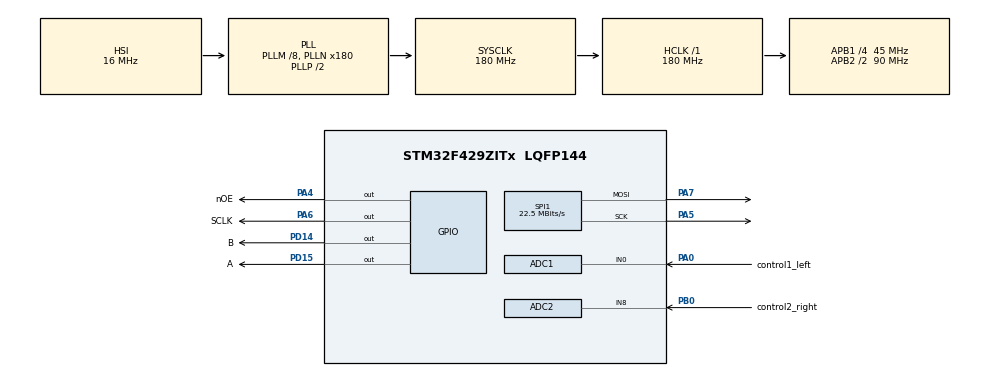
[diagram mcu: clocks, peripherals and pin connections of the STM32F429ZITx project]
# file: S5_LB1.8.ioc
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ADC1.Channel-0\#ChannelRegularConversion=ADC_CHANNEL_0
ADC1.NbrOfConversionFlag=1
ADC1.Rank-0\#ChannelRegularConversion=1
ADC1.SamplingTime-0\#ChannelRegularConversion=ADC_SAMPLETIME_3CYCLES
ADC1.master=1
ADC2.Channel-11\#ChannelRegularConversion=ADC_CHANNEL_8
ADC2.NbrOfConversionFlag=1
ADC2.Rank-11\#ChannelRegularConversion=1
ADC2.SamplingTime-11\#ChannelRegularConversion=ADC_SAMPLETIME_3CYCLES
Mcu.Family=STM32F4
Mcu.Name=STM32F429ZITx
Mcu.Package=LQFP144
NVIC.ADC_IRQn=true\:0\:0\:false\:false\:true\:true\:true\:true
NVIC.PriorityGroup=NVIC_PRIORITYGROUP_4
NVIC.TIM1_UP_TIM10_IRQn=true\:0\:0\:false\:false\:true\:true\:true\:true
PA0/WKUP.GPIO_Label=control1_left
PA0/WKUP.Signal=ADCx_IN0
PA13.Mode=Serial_Wire
PA13.Signal=SYS_JTMS-SWDIO
PA14.Mode=Serial_Wire
PA14.Signal=SYS_JTCK-SWCLK
PA4.GPIO_Label=nOE
PA4.Signal=GPIO_Output
PA5.Mode=TX_Only_Simplex_Unidirect_Master
PA5.Signal=SPI1_SCK
PA6.GPIO_Label=SCLK
PA6.Signal=GPIO_Output
PA7.Mode=TX_Only_Simplex_Unidirect_Master
PA7.Signal=SPI1_MOSI
PB0.GPIO_Label=control2_right
PB0.Signal=ADCx_IN8
PD14.GPIO_Label=B
PD14.Signal=GPIO_Output
PD15.GPIO_Label=A
PD15.Signal=GPIO_Output
PH0/OSC_IN.Mode=HSE-External-Oscillator
PH0/OSC_IN.Signal=RCC_OSC_IN
PH1/OSC_OUT.Mode=HSE-External-Oscillator
PH1/OSC_OUT.Signal=RCC_OSC_OUT
ProjectManager.HeapSize=0x200
ProjectManager.StackSize=0x400
ProjectManager.TargetToolchain=STM32CubeIDE
RCC.48MHZClocksFreq_Value=90000000
RCC.AHBFreq_Value=180000000
RCC.APB1CLKDivider=RCC_HCLK_DIV4
RCC.APB1Freq_Value=45000000
RCC.APB1TimFreq_Value=90000000
RCC.APB2CLKDivider=RCC_HCLK_DIV2
RCC.APB2Freq_Value=90000000
RCC.APB2TimFreq_Value=180000000
RCC.CortexFreq_Value=180000000
RCC.HCLKFreq_Value=180000000
RCC.HSE_VALUE=25000000
RCC.HSI_VALUE=16000000
RCC.LSE_VALUE=32768
RCC.PLLM=8
RCC.PLLN=180
RCC.SYSCLKFreq_VALUE=180000000
RCC.SYSCLKSource=RCC_SYSCLKSOURCE_PLLCLK
RCC.VCOOutputFreq_Value=360000000
SH.ADCx_IN0.0=ADC1_IN0,IN0
SH.ADCx_IN8.0=ADC2_IN8,IN8
SPI1.BaudRatePrescaler=SPI_BAUDRATEPRESCALER_4
SPI1.CalculateBaudRate=22.5 MBits/s
SPI1.Direction=SPI_DIRECTION_2LINES
SPI1.Mode=SPI_MODE_MASTER
SPI1.VirtualType=VM_MASTER
TIM1.Period=1800-1
TIM1.Prescaler=100-1
VP_TIM1_VS_ClockSourceINT.Mode=Internal
board=custom

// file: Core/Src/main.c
/* USER CODE BEGIN Header */
/**
  ******************************************************************************
  * @file           : main.c
  * @brief          : Main program body
  ******************************************************************************
  * @attention
  *
  * Copyright (c) 2023 STMicroelectronics.
  * All rights reserved.
  *
  * This software is licensed under terms that can be found in the LICENSE file
  * in the root directory of this software component.
  * If no LICENSE file comes with this software, it is provided AS-IS.
  *
  ******************************************************************************
  */
/* USER CODE END Header */
#include "main.h"

/* USER CODE BEGIN Includes */

#include "disp1color.h"
#include "font.h"

#include <stdio.h>
#define WIDTH 32 //Ширина светодиодной панели
#define HEIGHT 16 //Высота светодиодной панели

//difficulty very easy = 1000, easy = 300, medium = 100, hard = 30, very hard=10, terror = 1
uint16_t difficulty = 100; // Шаг по времени для движения мяча

volatile uint32_t inter_time = 0; // Таймер миллисекунд
uint32_t time_last = 0; // Переменная для указания шага обновления координаты шарика

uint8_t ballX = WIDTH / 2;  // Координата мяча по оси X, установка мяча в центре
uint8_t ballY = HEIGHT / 2;  // Координата мяча по оси Y, установка мяча в центре
uint8_t ballSpeedX = 1; // Скорость мяча по оси X
uint8_t ballSpeedY = 1; // Скорость мяча по оси Y

//Potentiometers
float adc_value1 = 0; // Значение с потенциометра 1
float adc_value2 = 0; // Значение с потенциометра 2
float adc_filt_val1 = 0; //Фильтрованное значение потенциометра 1
float adc_filt_val2 = 0; // Фильтрованное значение потенциометра 2
uint8_t value1, value2; // Пропорциональное значение потенциометра 1 и 2
float k = 0.1; // Коэффициент фильтрации\

uint8_t score1_left, score2_right; // Счет левого и правого игрока
uint8_t plat_lenght = 5; // Длина платформы игрока

uint8_t flag_score = 0; // Флаг для показа счета
uint8_t shift1 = 0; //Сдвиг числа счета игрока 1 при 2 символах
uint8_t shift2 = 0; //Сдвиг числа счета игрока 2 при 2 символах

extern uint8_t data1[16], data2[16], data3[16], data4[16]; //Буфер для заполнения матрицы лед-панели

/* USER CODE END Includes */

ADC_HandleTypeDef hadc1;
ADC_HandleTypeDef hadc2;

SPI_HandleTypeDef hspi1;

TIM_HandleTypeDef htim1;

void SystemClock_Config(void);
static void MX_GPIO_Init(void);
static void MX_SPI1_Init(void);
static void MX_TIM1_Init(void);
static void MX_ADC1_Init(void);
static void MX_ADC2_Init(void);

/* USER CODE BEGIN 0 */

uint8_t player1_left() { // функция для определения положения платформы игрока 1
	uint8_t y = 1 + value1; // Положение платформы игрока 1
	disp1color_DrawLine(0, y, 0, y + plat_lenght); // Рисование платформы 1
	return y; // возвращение положения платформы 1
}

uint8_t player2_right() { // функция для определения положения платформы игрока 2
	uint8_t y = 1 + value2; //Положение платформы игрока 2
	disp1color_DrawLine(31, y, 31, y + plat_lenght);//Рисование платформы 2
	return y; // возвращение положения платформы 2
}

void game() { // функция для реализации игрового процесса
	uint8_t player1, player2; // Реальное положение платформы игрока 1 и 2
	player1 = player1_left();
	player2 = player2_right();
	if (ballX == 0 || ballX == 31) { // находится ли мяч у левой и правой границы
		if (ballX == 0) { // если мяч находится у левой границы
			if (ballY < player1 || ballY > (player1 + plat_lenght)) { //если мяч находится вне координат платформы
				score1_left++; // увеличение счета 2 игрока
				ballX = WIDTH / 2; // возращение мяча в начальное положение по X
				ballY = HEIGHT / 2; // возращение мяча в начальное положение по Y
				time_last = inter_time + difficulty * 20; //изменение времени ожидания, перед началом нвого раунда
				flag_score = 1; // поднятие флага для вывода счета
			} else {
				BallPosition(); // функция для изменения положения мяча
			}
		} else {
			if (ballY < player2 || ballY > (player2 + plat_lenght)) {
				score2_right++; // увеличение счета 2 игрока
				ballX = WIDTH / 2; // возращение мяча в начальное положение по X
				ballY = HEIGHT / 2; // возращение мяча в начальное положение по Y
				time_last = inter_time + difficulty * 20; //изменение времени ожидания, перед началом нвого раунда
				flag_score = 1; // поднятие флага для вывода счета
			} else {
				BallPosition(); // функция для изменения положения мяча
			}
		}
	} else {
		BallPosition(); // функция для изменения положения мяча
	}

	if ((10 * difficulty + inter_time) <= time_last) { // условие для временного вывода счета перед началом нового раунда
		flag_score = 1;
	} else {
		flag_score = 0;
	}
}

void scorer() { // функция для вывода счета игроков
	char buffer1[3]; //Буфер для вывода счета в строку 2
	char buffer2[3]; //Буфер для вывода счета в строку 1

	sprintf(buffer1, "%d", score1_left); // преобразование числа в строку
	sprintf(buffer2, "%d", score2_right);

	if (score1_left == 10) { // при счете игрока 2 == 10 сдвигаем число для лучшего отображения
		shift1 = 3; //Сдвиг увеличивается с 0 до 3 пикселей
	}
	if (score2_right == 10) { // при счете игрока 2 == 10 сдвигаем число для лучшего отображения
		shift2 = 3; //Сдвиг увеличивается с 0 до 3 пикселей
	}

	if (flag_score) { // вывод счета на экран
		disp1color_printf(6 - shift1, 4, FONTID_6X8M, buffer2);
		disp1color_printf(21 - shift2, 4, FONTID_6X8M, buffer1);
	}
}

void BallPosition() { // функция для изменения положения мяча
	uint8_t player1, player2; // // Реальное положение платформы игрока 1 и 2
	player1 = player1_left();
	player2 = player2_right();
	// условие движения мяча по полю
	if (inter_time >= time_last) { // когда время на таймере больше заданного значения, изменяем положение мяча
		ballX = ballX + ballSpeedX; // смещение координаты мяча по оси Х
		ballY = ballY + ballSpeedY; // смещение координаты мяча по оси Х
		if (ballX == 0 || ballX == 31) { // находится ли мяч у левой и правой границы
			ballSpeedX = -ballSpeedX; //изменение смешения шарика на обратное
		} else if (ballX == 1 && (ballY >= player1 && ballY <= (player1 + plat_lenght))) { //касается ли мяч платформы игрока 1
			ballSpeedX = -ballSpeedX; //изменение смешения шарика на обратное
		} else if (ballX == 30 && (ballY >= player2 && ballY <= (player2 + plat_lenght))){ //касается ли мяч платформы игрока 2
			ballSpeedX = -ballSpeedX; //изменение смешения шарика на обратное
		}
		if (ballY == 1 || ballY == 14) { // находится ли мяч у нижней и верхней стенки
			ballSpeedY = -ballSpeedY; //изменение смешения шарика на обратное
		}
		//добавление шага по времени к последнему времени таймера, для задания частоты изменения положения мяча
		time_last = inter_time + difficulty;
	}
}

float expFilter1(float inputValue) { //экспоненциальный фильтр для потенциометра 1
	static float FiltVal = 0; //переменная запоминающая прошлое значения с потенциометра
	FiltVal += (inputValue - FiltVal) * k; //изменение нового значения потенциометра по коэффициенту
	return FiltVal; //возращение нового значения с потенциометра
}

float expFilter2(float inputValue) { //экспоненциальный фильтр для потенциометра 2
	static float FiltVal = 0; //переменная запоминающая прошлое значения с потенциометра
	FiltVal += (inputValue - FiltVal) * k; //изменение нового значения потенциометра по коэффициенту
	return FiltVal; //возращение нового значения с потенциометра
}

void Potentiometers() { // функция управления потенциометрами
	HAL_ADC_Start(&hadc1); //включение АЦП для оцифровки аналогого сигнала 1
	HAL_ADC_Start(&hadc2); //включение АЦП для оцифровки аналогого сигнала 2

	HAL_ADC_PollForConversion(&hadc1, 5); //ожидание окончания преобразования АЦП по истечению 5 тактов
	HAL_ADC_PollForConversion(&hadc2, 5); //ожидание окончания преобразования АЦП по истечению 5 тактов

	adc_value1 = HAL_ADC_GetValue(&hadc1); //получение значения с потенциометра 1
	adc_value2 = HAL_ADC_GetValue(&hadc2); //получение значения с потенциометра 2

	adc_filt_val1 = expFilter1(adc_value1); //получение фильтрованного значения с потенциометра 1
	adc_filt_val2 = expFilter2(adc_value2); //получение фильтрованного значения с потенциометра 1

	HAL_ADC_Stop(&hadc1); //остановка АЦП преобразований
	HAL_ADC_Stop(&hadc2); //остановка АЦП преобразований

	//пропорциональное изменение значения с потенциометра в значения от 0 до 9
	value1 = adc_filt_val1 * (14 - plat_lenght) / 4096;
	value2 = adc_filt_val2 * (14 - plat_lenght) / 4096;
}

void disp_row(uint8_t row) { //заполнение буфера матрицы

	if (row == 0) {

		for (uint8_t i = 0; i < 6; i++) {
			HAL_SPI_Transmit(&hspi1,(uint8_t*) &data1, 16, 10);
		}

		HAL_GPIO_WritePin(SCLK_GPIO_Port, SCLK_Pin, GPIO_PIN_RESET);
		HAL_GPIO_WritePin(SCLK_GPIO_Port, SCLK_Pin, GPIO_PIN_SET);

		HAL_GPIO_WritePin(A_GPIO_Port, A_Pin, GPIO_PIN_RESET);
		HAL_GPIO_WritePin(B_GPIO_Port, B_Pin, GPIO_PIN_RESET);
	}
	if (row == 1) {

		for (uint8_t i = 0; i < 6; i++) {
			HAL_SPI_Transmit(&hspi1,(uint8_t*) &data2, 16, 10);
		}

		HAL_GPIO_WritePin(SCLK_GPIO_Port, SCLK_Pin, GPIO_PIN_RESET);
		HAL_GPIO_WritePin(SCLK_GPIO_Port, SCLK_Pin, GPIO_PIN_SET);

		HAL_GPIO_WritePin(A_GPIO_Port, A_Pin, GPIO_PIN_SET);
		HAL_GPIO_WritePin(B_GPIO_Port, B_Pin, GPIO_PIN_RESET);
	}

	if (row == 2) {

		for (uint8_t i = 0; i < 6; i++) {
			HAL_SPI_Transmit(&hspi1,(uint8_t*) &data3, 16, 10);
		}

		HAL_GPIO_WritePin(SCLK_GPIO_Port, SCLK_Pin, GPIO_PIN_RESET);
		HAL_GPIO_WritePin(SCLK_GPIO_Port, SCLK_Pin, GPIO_PIN_SET);

		HAL_GPIO_WritePin(A_GPIO_Port, A_Pin, GPIO_PIN_RESET);
		HAL_GPIO_WritePin(B_GPIO_Port, B_Pin, GPIO_PIN_SET);
	}

	if (row == 3) {

		for (uint8_t i = 0; i < 6; i++) {
			HAL_SPI_Transmit(&hspi1,(uint8_t*) &data4, 16, 10);
		}

		HAL_GPIO_WritePin(SCLK_GPIO_Port, SCLK_Pin, GPIO_PIN_RESET);
		HAL_GPIO_WritePin(SCLK_GPIO_Port, SCLK_Pin, GPIO_PIN_SET);

		HAL_GPIO_WritePin(A_GPIO_Port, A_Pin, GPIO_PIN_SET);
		HAL_GPIO_WritePin(B_GPIO_Port, B_Pin, GPIO_PIN_SET);
	}

	HAL_GPIO_WritePin(nOE_GPIO_Port, nOE_Pin, GPIO_PIN_SET);
	for (uint16_t x = 0; x <= 300; x++) {
	};
	HAL_GPIO_WritePin(nOE_GPIO_Port, nOE_Pin, GPIO_PIN_RESET);
}

void show_screen() { //отрисовка экрана игры: мяча и стенок
	disp1color_DrawPixel(ballX, ballY, 1); //отсовка мяча
	disp1color_DrawLine(0, 0, 31, 0); //отрисовка верхней стены
	disp1color_DrawLine(0, 15, 31, 15); // отрисовка нижней стены

	disp1color_UpdateFromBuff(); //обновленеи буфера
	prepare_data(); //подготовка данных для заполнения
	for (uint8_t i = 0; i < 20; i++) { //заполнение каждого пикселя светодиодной панели
		disp_row(0);
		disp_row(1);
		disp_row(2);
		disp_row(3);
	}
}
/* USER CODE END 0 */

int main(void)
{

  /* MCU Configuration--------------------------------------------------------*/

  /* Reset of all peripherals, Initializes the Flash interface and the Systick. */
  HAL_Init();

  /* Configure the system clock */
  SystemClock_Config();

  /* Initialize all configured peripherals */
  MX_GPIO_Init();
  MX_SPI1_Init();
  MX_TIM1_Init();
  MX_ADC1_Init();
  MX_ADC2_Init();
  /* USER CODE BEGIN 2 */

  HAL_TIM_Base_Start_IT(&htim1); //включение  таймера

  /* USER CODE END 2 */

  /* Infinite loop */
  /* USER CODE BEGIN WHILE */

	while (1) {
		disp1color_FillScreenbuff(0); //стирание прошлых данных матрицы

		Potentiometers(); // функция управления потенциометрами

		game(); // функция для реализации игрового процесса

		scorer(); // функция для вывода счета игроков

		show_screen(); //отрисовка экрана игры: мяча и стенок
    /* USER CODE END WHILE */

	}
}

void SystemClock_Config(void)
{
  RCC_OscInitTypeDef RCC_OscInitStruct = {0};
  RCC_ClkInitTypeDef RCC_ClkInitStruct = {0};

  /** Configure the main internal regulator output voltage
  */
  __HAL_RCC_PWR_CLK_ENABLE();
  __HAL_PWR_VOLTAGESCALING_CONFIG(PWR_REGULATOR_VOLTAGE_SCALE1);

  /** Initializes the RCC Oscillators according to the specified parameters
  * in the RCC_OscInitTypeDef structure.
  */
  RCC_OscInitStruct.OscillatorType = RCC_OSCILLATORTYPE_HSI;
  RCC_OscInitStruct.HSIState = RCC_HSI_ON;
  RCC_OscInitStruct.HSICalibrationValue = RCC_HSICALIBRATION_DEFAULT;
  RCC_OscInitStruct.PLL.PLLState = RCC_PLL_ON;
  RCC_OscInitStruct.PLL.PLLSource = RCC_PLLSOURCE_HSI;
  RCC_OscInitStruct.PLL.PLLM = 8;
  RCC_OscInitStruct.PLL.PLLN = 180;
  RCC_OscInitStruct.PLL.PLLP = RCC_PLLP_DIV2;
  RCC_OscInitStruct.PLL.PLLQ = 4;
  if (HAL_RCC_OscConfig(&RCC_OscInitStruct) != HAL_OK)
  {
    Error_Handler();
  }

  /** Activate the Over-Drive mode
  */
  if (HAL_PWREx_EnableOverDrive() != HAL_OK)
  {
    Error_Handler();
  }

  /** Initializes the CPU, AHB and APB buses clocks
  */
  RCC_ClkInitStruct.ClockType = RCC_CLOCKTYPE_HCLK|RCC_CLOCKTYPE_SYSCLK
                              |RCC_CLOCKTYPE_PCLK1|RCC_CLOCKTYPE_PCLK2;
  RCC_ClkInitStruct.SYSCLKSource = RCC_SYSCLKSOURCE_PLLCLK;
  RCC_ClkInitStruct.AHBCLKDivider = RCC_SYSCLK_DIV1;
  RCC_ClkInitStruct.APB1CLKDivider = RCC_HCLK_DIV4;
  RCC_ClkInitStruct.APB2CLKDivider = RCC_HCLK_DIV2;

  if (HAL_RCC_ClockConfig(&RCC_ClkInitStruct, FLASH_LATENCY_5) != HAL_OK)
  {
    Error_Handler();
  }
}

static void MX_ADC1_Init(void)
{

  ADC_ChannelConfTypeDef sConfig = {0};

  /** Configure the global features of the ADC (Clock, Resolution, Data Alignment and number of conversion)
  */
  hadc1.Instance = ADC1;
  hadc1.Init.ClockPrescaler = ADC_CLOCK_SYNC_PCLK_DIV4;
  hadc1.Init.Resolution = ADC_RESOLUTION_12B;
  hadc1.Init.ScanConvMode = DISABLE;
  hadc1.Init.ContinuousConvMode = DISABLE;
  hadc1.Init.DiscontinuousConvMode = DISABLE;
  hadc1.Init.ExternalTrigConvEdge = ADC_EXTERNALTRIGCONVEDGE_NONE;
  hadc1.Init.ExternalTrigConv = ADC_SOFTWARE_START;
  hadc1.Init.DataAlign = ADC_DATAALIGN_RIGHT;
  hadc1.Init.NbrOfConversion = 1;
  hadc1.Init.DMAContinuousRequests = DISABLE;
  hadc1.Init.EOCSelection = ADC_EOC_SINGLE_CONV;
  if (HAL_ADC_Init(&hadc1) != HAL_OK)
  {
    Error_Handler();
  }

  /** Configure for the selected ADC regular channel its corresponding rank in the sequencer and its sample time.
  */
  sConfig.Channel = ADC_CHANNEL_0;
  sConfig.Rank = 1;
  sConfig.SamplingTime = ADC_SAMPLETIME_3CYCLES;
  if (HAL_ADC_ConfigChannel(&hadc1, &sConfig) != HAL_OK)
  {
    Error_Handler();
  }

}

static void MX_ADC2_Init(void)
{

  ADC_ChannelConfTypeDef sConfig = {0};

  /** Configure the global features of the ADC (Clock, Resolution, Data Alignment and number of conversion)
  */
  hadc2.Instance = ADC2;
  hadc2.Init.ClockPrescaler = ADC_CLOCK_SYNC_PCLK_DIV4;
  hadc2.Init.Resolution = ADC_RESOLUTION_12B;
  hadc2.Init.ScanConvMode = DISABLE;
  hadc2.Init.ContinuousConvMode = DISABLE;
  hadc2.Init.DiscontinuousConvMode = DISABLE;
  hadc2.Init.ExternalTrigConvEdge = ADC_EXTERNALTRIGCONVEDGE_NONE;
  hadc2.Init.ExternalTrigConv = ADC_SOFTWARE_START;
  hadc2.Init.DataAlign = ADC_DATAALIGN_RIGHT;
  hadc2.Init.NbrOfConversion = 1;
  hadc2.Init.DMAContinuousRequests = DISABLE;
  hadc2.Init.EOCSelection = ADC_EOC_SINGLE_CONV;
  if (HAL_ADC_Init(&hadc2) != HAL_OK)
  {
    Error_Handler();
  }

  /** Configure for the selected ADC regular channel its corresponding rank in the sequencer and its sample time.
  */
  sConfig.Channel = ADC_CHANNEL_8;
  sConfig.Rank = 1;
  sConfig.SamplingTime = ADC_SAMPLETIME_3CYCLES;
  if (HAL_ADC_ConfigChannel(&hadc2, &sConfig) != HAL_OK)
  {
    Error_Handler();
  }

}

static void MX_SPI1_Init(void)
{

  /* SPI1 parameter configuration*/
  hspi1.Instance = SPI1;
  hspi1.Init.Mode = SPI_MODE_MASTER;
  hspi1.Init.Direction = SPI_DIRECTION_2LINES;
  hspi1.Init.DataSize = SPI_DATASIZE_8BIT;
  hspi1.Init.CLKPolarity = SPI_POLARITY_LOW;
  hspi1.Init.CLKPhase = SPI_PHASE_1EDGE;
  hspi1.Init.NSS = SPI_NSS_SOFT;
  hspi1.Init.BaudRatePrescaler = SPI_BAUDRATEPRESCALER_4;
  hspi1.Init.FirstBit = SPI_FIRSTBIT_MSB;
  hspi1.Init.TIMode = SPI_TIMODE_DISABLE;
  hspi1.Init.CRCCalculation = SPI_CRCCALCULATION_DISABLE;
  hspi1.Init.CRCPolynomial = 10;
  if (HAL_SPI_Init(&hspi1) != HAL_OK)
  {
    Error_Handler();
  }

}

static void MX_TIM1_Init(void)
{

  TIM_ClockConfigTypeDef sClockSourceConfig = {0};
  TIM_MasterConfigTypeDef sMasterConfig = {0};

  htim1.Instance = TIM1;
  htim1.Init.Prescaler = 100-1;
  htim1.Init.CounterMode = TIM_COUNTERMODE_UP;
  htim1.Init.Period = 1800-1;
  htim1.Init.ClockDivision = TIM_CLOCKDIVISION_DIV1;
  htim1.Init.RepetitionCounter = 0;
  htim1.Init.AutoReloadPreload = TIM_AUTORELOAD_PRELOAD_DISABLE;
  if (HAL_TIM_Base_Init(&htim1) != HAL_OK)
  {
    Error_Handler();
  }
  sClockSourceConfig.ClockSource = TIM_CLOCKSOURCE_INTERNAL;
  if (HAL_TIM_ConfigClockSource(&htim1, &sClockSourceConfig) != HAL_OK)
  {
    Error_Handler();
  }
  sMasterConfig.MasterOutputTrigger = TIM_TRGO_RESET;
  sMasterConfig.MasterSlaveMode = TIM_MASTERSLAVEMODE_DISABLE;
  if (HAL_TIMEx_MasterConfigSynchronization(&htim1, &sMasterConfig) != HAL_OK)
  {
    Error_Handler();
  }

}

static void MX_GPIO_Init(void)
{
  GPIO_InitTypeDef GPIO_InitStruct = {0};

  /* GPIO Ports Clock Enable */
  __HAL_RCC_GPIOH_CLK_ENABLE();
  __HAL_RCC_GPIOA_CLK_ENABLE();
  __HAL_RCC_GPIOB_CLK_ENABLE();
  __HAL_RCC_GPIOD_CLK_ENABLE();

  /*Configure GPIO pin Output Level */
  HAL_GPIO_WritePin(GPIOA, nOE_Pin|SCLK_Pin, GPIO_PIN_RESET);

  /*Configure GPIO pin Output Level */
  HAL_GPIO_WritePin(GPIOD, B_Pin|A_Pin, GPIO_PIN_RESET);

  /*Configure GPIO pins : nOE_Pin SCLK_Pin */
  GPIO_InitStruct.Pin = nOE_Pin|SCLK_Pin;
  GPIO_InitStruct.Mode = GPIO_MODE_OUTPUT_PP;
  GPIO_InitStruct.Pull = GPIO_NOPULL;
  GPIO_InitStruct.Speed = GPIO_SPEED_FREQ_LOW;
  HAL_GPIO_Init(GPIOA, &GPIO_InitStruct);

  /*Configure GPIO pins : B_Pin A_Pin */
  GPIO_InitStruct.Pin = B_Pin|A_Pin;
  GPIO_InitStruct.Mode = GPIO_MODE_OUTPUT_PP;
  GPIO_InitStruct.Pull = GPIO_NOPULL;
  GPIO_InitStruct.Speed = GPIO_SPEED_FREQ_LOW;
  HAL_GPIO_Init(GPIOD, &GPIO_InitStruct);

}

void Error_Handler(void)
{
  __disable_irq();
  while (1)
  {
  }
}
